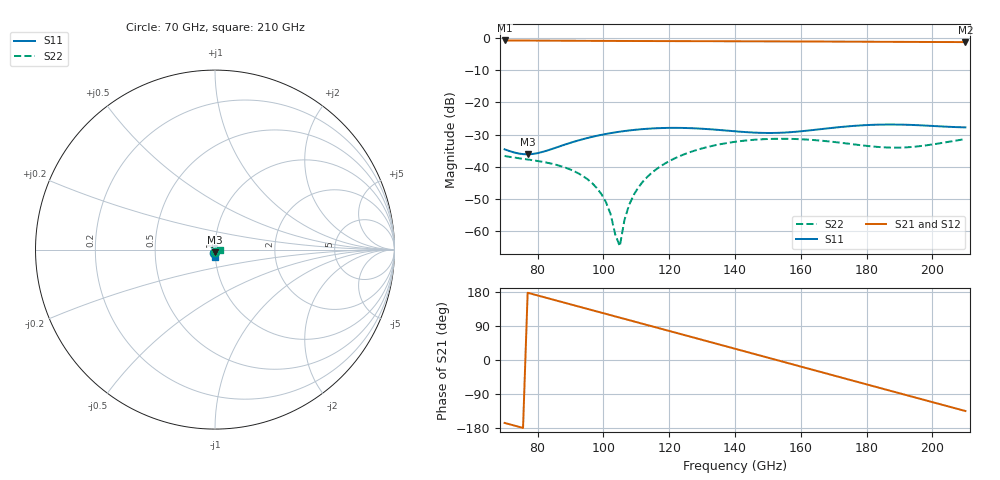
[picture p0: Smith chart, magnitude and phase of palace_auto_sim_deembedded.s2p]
! Created with skrf 1.11.0 (http://scikit-rf.org).
# GHz S DB R 50.0
!freq dBS11 angS11 dBS21 angS21 dBS12 angS12 dBS22 angS22
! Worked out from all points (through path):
!   101 points, 70 GHz to 210 GHz, reference 50 ohm
!   highest |S21| = -0.78 dB at 70 GHz (marker M1); lowest = -1.3 dB at 210 GHz (marker M2)
!   group delay of S21, straight-line fit = 6.52 ps
!   lowest |S11| = -36.1 dB at 77 GHz (marker M3), VSWR 1.03, Z = 50.1 - j1.56 ohm
!   |S11| at or under -10 dB: start of sweep to end of sweep
!   |S22| runs from -64.6 to -31.3 dB; largest |S21 - S12| = 1.5e-12
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70  -34.56 -104.4  -0.78 -166.1  -0.78 -166.1  -36.63 -92.4
77  -36.11 -84.2  -0.81 177.5  -0.81 177.5  -37.72 -93.6
86.8  -33.62 -62.1  -0.86 154.4  -0.86 154.4  -39.69 -102.7
93.8  -31.41 -60.9  -0.89 138.0  -0.89 138.0  -42.85 -113.4
98  -30.37 -63.0  -0.91 128.2  -0.91 128.2  -46.55 -119.9
100.8  -29.80 -65.0  -0.92 121.6  -0.92 121.6  -50.97 -121.9
102.2  -29.54 -66.1  -0.93 118.4  -0.93 118.4  -54.66 -119.6
103.6  -29.30 -67.3  -0.93 115.1  -0.93 115.1  -60.94 -104.8
105  -29.09 -68.5  -0.94 111.8  -0.94 111.8  -64.62 -19.4
106.4  -28.89 -69.8  -0.94 108.5  -0.94 108.5  -56.57 15.4
107.8  -28.71 -71.1  -0.95 105.2  -0.95 105.2  -51.87 20.4
109.2  -28.55 -72.5  -0.95 102.0  -0.95 102.0  -48.75 20.5
113.4  -28.18 -76.6  -0.96 92.1  -0.96 92.1  -43.07 14.0
117.6  -27.97 -80.8  -0.98 82.3  -0.98 82.3  -39.68 4.8
128.8  -28.11 -90.2  -1.00 56.0  -1.00 56.0  -34.64 -23.0
140  -28.97 -93.7  -1.03 29.7  -1.03 29.7  -32.23 -53.7
152.6  -29.46 -88.0  -1.07 0.1  -1.07 0.1  -31.30 -91.8
163.8  -28.56 -82.8  -1.11 -26.3  -1.11 -26.3  -31.67 -130.6
176.4  -27.27 -85.0  -1.16 -55.9  -1.16 -55.9  -33.06 176.3
187.6  -26.86 -90.5  -1.21 -82.2  -1.21 -82.2  -34.03 117.1
198.8  -27.24 -93.8  -1.25 -108.4  -1.25 -108.4  -33.22 53.3
210  -27.75 -91.1  -1.29 -134.6  -1.29 -134.6  -31.38 -3.2
